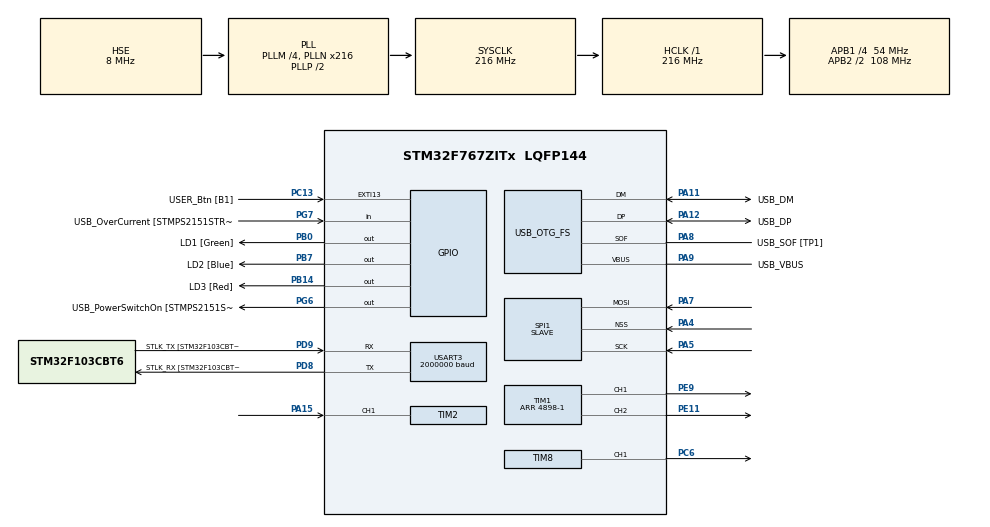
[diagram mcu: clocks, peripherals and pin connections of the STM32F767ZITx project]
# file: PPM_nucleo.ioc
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Dma.Request0=SPI1_RX
Dma.SPI1_RX.0.Direction=DMA_PERIPH_TO_MEMORY
Dma.SPI1_RX.0.FIFOMode=DMA_FIFOMODE_DISABLE
Dma.SPI1_RX.0.Instance=DMA2_Stream0
Dma.SPI1_RX.0.MemDataAlignment=DMA_MDATAALIGN_HALFWORD
Dma.SPI1_RX.0.MemInc=DMA_MINC_ENABLE
Dma.SPI1_RX.0.Mode=DMA_NORMAL
Dma.SPI1_RX.0.PeriphDataAlignment=DMA_PDATAALIGN_HALFWORD
Dma.SPI1_RX.0.PeriphInc=DMA_PINC_DISABLE
Dma.SPI1_RX.0.Priority=DMA_PRIORITY_LOW
Mcu.Family=STM32F7
Mcu.Name=STM32F767ZITx
Mcu.Package=LQFP144
NVIC.DMA2_Stream0_IRQn=true\:0\:0\:false\:false\:true\:false\:true
NVIC.PriorityGroup=NVIC_PRIORITYGROUP_4
NVIC.TIM1_CC_IRQn=true\:0\:0\:false\:false\:true\:true\:true
NVIC.TIM2_IRQn=true\:0\:0\:false\:false\:true\:true\:true
NVIC.TIM8_CC_IRQn=true\:0\:0\:false\:false\:true\:true\:true
PA1.GPIO_Label=RMII_REF_CLK [LAN8742A-CZ-TR_REFCLK0]
PA1.Signal=ETH_REF_CLK
PA10.GPIO_Label=USB_ID
PA10.Signal=USB_OTG_FS_ID
PA11.GPIO_Label=USB_DM
PA11.Mode=Device_Only
PA11.Signal=USB_OTG_FS_DM
PA12.GPIO_Label=USB_DP
PA12.Mode=Device_Only
PA12.Signal=USB_OTG_FS_DP
PA13.GPIO_Label=TMS
PA13.Mode=Serial_Wire
PA13.Signal=SYS_JTMS-SWDIO
PA14.GPIO_Label=TCK
PA14.Mode=Serial_Wire
PA14.Signal=SYS_JTCK-SWCLK
PA15.Signal=S_TIM2_CH1_ETR
PA2.GPIO_Label=RMII_MDIO [LAN8742A-CZ-TR_MDIO]
PA2.Signal=ETH_MDIO
PA4.Mode=NSS_Signal_Hard_Input
PA4.Signal=SPI1_NSS
PA5.Mode=RX_Only_Simplex_Unidirect_Slave
PA5.Signal=SPI1_SCK
PA6.Signal=SPI1_MISO
PA7.Mode=RX_Only_Simplex_Unidirect_Slave
PA7.Signal=SPI1_MOSI
PA8.GPIO_Label=USB_SOF [TP1]
PA8.Mode=Activate_SOF_FS
PA8.Signal=USB_OTG_FS_SOF
PA9.GPIO_Label=USB_VBUS
PA9.Mode=Activate_VBUS
PA9.Signal=USB_OTG_FS_VBUS
PB0.GPIO_Label=LD1 [Green]
PB0.Signal=GPIO_Output
PB13.GPIO_Label=RMII_TXD1 [LAN8742A-CZ-TR_TXD1]
PB13.Signal=ETH_TXD1
PB14.GPIO_Label=LD3 [Red]
PB14.Signal=GPIO_Output
PB3.GPIO_Label=SWO
PB3.Signal=SYS_JTDO-SWO
PB7.GPIO_Label=LD2 [Blue]
PB7.Signal=GPIO_Output
PC1.GPIO_Label=RMII_MDC [LAN8742A-CZ-TR_MDC]
PC1.Signal=ETH_MDC
PC13.GPIO_Label=USER_Btn [B1]
PC13.Signal=GPXTI13
PC14/OSC32_IN.Mode=LSE-External-Oscillator
PC14/OSC32_IN.Signal=RCC_OSC32_IN
PC15/OSC32_OUT.Mode=LSE-External-Oscillator
PC15/OSC32_OUT.Signal=RCC_OSC32_OUT
PC4.GPIO_Label=RMII_RXD0 [LAN8742A-CZ-TR_RXD0]
PC4.Signal=ETH_RXD0
PC5.GPIO_Label=RMII_RXD1 [LAN8742A-CZ-TR_RXD1]
PC5.Signal=ETH_RXD1
PC6.Signal=S_TIM8_CH1
PD8.GPIO_Label=STLK_RX [STM32F103CBT6_PA3]
PD8.Mode=Asynchronous
PD8.Signal=USART3_TX
PD9.GPIO_Label=STLK_TX [STM32F103CBT6_PA2]
PD9.Mode=Asynchronous
PD9.Signal=USART3_RX
PE11.Signal=S_TIM1_CH2
PE9.Signal=S_TIM1_CH1
PG11.GPIO_Label=RMII_TX_EN [LAN8742A-CZ-TR_TXEN]
PG11.Signal=ETH_TX_EN
PG13.GPIO_Label=RMII_TXD0 [LAN8742A-CZ-TR_TXD0]
PG13.Signal=ETH_TXD0
PG6.GPIO_Label=USB_PowerSwitchOn [STMPS2151STR_EN]
PG6.Signal=GPIO_Output
PG7.GPIO_Label=USB_OverCurrent [STMPS2151STR_FAULT]
PG7.Signal=GPIO_Input
PH0/OSC_IN.GPIO_Label=MCO [STM32F103CBT6_PA8]
PH0/OSC_IN.Mode=HSE-External-Clock-Source
PH0/OSC_IN.Signal=RCC_OSC_IN
PH1/OSC_OUT.Mode=HSE-External-Clock-Source
PH1/OSC_OUT.Signal=RCC_OSC_OUT
ProjectManager.HeapSize=0x200
ProjectManager.StackSize=0x400
ProjectManager.TargetToolchain=STM32CubeIDE
RCC.48MHZClocksFreq_Value=24000000
RCC.AHBFreq_Value=216000000
RCC.APB1CLKDivider=RCC_HCLK_DIV4
RCC.APB1Freq_Value=54000000
RCC.APB1TimFreq_Value=216000000
RCC.APB2CLKDivider=RCC_HCLK_DIV2
RCC.APB2Freq_Value=108000000
RCC.APB2TimFreq_Value=216000000
RCC.CortexFreq_Value=216000000
RCC.HCLKFreq_Value=216000000
RCC.HSE_VALUE=8000000
RCC.HSI_VALUE=16000000
RCC.PLLM=4
RCC.PLLMUL=RCC_PLL_MUL9
RCC.PLLN=216
RCC.PLLQ=9
RCC.PRESCALERUSB=RCC_USBCLKSOURCE_PLL_DIV1_5
RCC.RCC_TIM_PRescaler_Selection=RCC_TIMPRES_ACTIVATED
RCC.SYSCLKFreq_VALUE=216000000
RCC.SYSCLKSource=RCC_SYSCLKSOURCE_PLLCLK
RCC.SYSCLKSourceVirtual=RCC_SYSCLKSOURCE_PLLCLK
RCC.USBFreq_Value=48000000
RCC.VCOOutputFreq_Value=432000000
SH.S_TIM1_CH1.0=TIM1_CH1,PWM Generation1 CH1
SH.S_TIM1_CH2.0=TIM1_CH2,PWM Generation2 CH2
SH.S_TIM2_CH1_ETR.0=TIM2_CH1,Input_Capture1_from_TI1
SH.S_TIM8_CH1.0=TIM8_CH1,PWM Generation1 CH1
SPI1.DataSize=SPI_DATASIZE_16BIT
SPI1.Direction=SPI_DIRECTION_2LINES_RXONLY
SPI1.Mode=SPI_MODE_SLAVE
SPI1.TIMode=SPI_TIMODE_DISABLE
SPI1.VirtualNSS=VM_NSSHARD
SPI1.VirtualType=VM_SLAVE
TIM1.Channel-PWM\ Generation1\ CH1=TIM_CHANNEL_1
TIM1.Channel-PWM\ Generation2\ CH2=TIM_CHANNEL_2
TIM1.CounterMode=TIM_COUNTERMODE_UP
TIM1.OCIdleState_1=TIM_OCIDLESTATE_SET
TIM1.OCIdleState_2=TIM_OCIDLESTATE_SET
TIM1.OCMode_PWM-PWM\ Generation1\ CH1=TIM_OCMODE_PWM2
TIM1.OCMode_PWM-PWM\ Generation2\ CH2=TIM_OCMODE_PWM1
TIM1.OCPolarity_1=TIM_OCPOLARITY_LOW
TIM1.OCPolarity_2=TIM_OCPOLARITY_LOW
TIM1.Period=4898-1
TIM1.Pulse-PWM\ Generation1\ CH1=864+10
TIM1.Pulse-PWM\ Generation2\ CH2=3000
TIM1.RepetitionCounter=0
TIM1.TIM_MasterOutputTrigger=TIM_TRGO_UPDATE
TIM1.TIM_MasterOutputTrigger2=TIM_TRGO2_RESET
TIM1.TIM_MasterSlaveMode=TIM_MASTERSLAVEMODE_ENABLE
TIM2.Channel-Input_Capture1_from_TI1=TIM_CHANNEL_1
TIM2.Period=0xffffffff
TIM8.Channel-PWM\ Generation1\ CH1=TIM_CHANNEL_1
TIM8.OCIdleState_1=TIM_OCIDLESTATE_RESET
TIM8.OCMode_PWM-PWM\ Generation1\ CH1=TIM_OCMODE_PWM2
TIM8.OCPolarity_1=TIM_OCPOLARITY_HIGH
TIM8.Period=108-1
TIM8.Pulse-PWM\ Generation1\ CH1=54
TIM8.RepetitionCounter=24
TIM8.TIM_MasterOutputTrigger=TIM_TRGO_RESET
TIM8.TIM_MasterSlaveMode=TIM_MASTERSLAVEMODE_DISABLE
USART3.BaudRate=2000000
USART3.VirtualMode-Asynchronous=VM_ASYNC
USB_OTG_FS.VirtualMode=Device_Only
VP_TIM1_VS_ClockSourceINT.Mode=Internal
VP_TIM8_VS_ClockSourceINT.Mode=Internal
VP_TIM8_VS_ClockSourceITR.Mode=TriggerSource_ITR0
VP_TIM8_VS_ControllerModeTrigger.Mode=Trigger Mode
VP_TIM8_VS_OPM.Mode=OPM_bit
board=NUCLEO-F767ZI

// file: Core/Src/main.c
/* USER CODE BEGIN Header */
/**
 ******************************************************************************
 * @file           : main.c
 * @brief          : Main program body
 ******************************************************************************
 * @attention
 *
 * <h2><center>&copy; Copyright (c) 2020 STMicroelectronics.
 * All rights reserved.</center></h2>
 *
 * This software component is licensed by ST under BSD 3-Clause license,
 * the "License"; You may not use this file except in compliance with the
 * License. You may obtain a copy of the License at:
 *                        opensource.org/licenses/BSD-3-Clause
 *
 ******************************************************************************
 */
/* USER CODE END Header */

#include "main.h"

/* USER CODE BEGIN Includes */
#include "float.h"
#include "string.h"
#include "stdio.h"
/* USER CODE END Includes */

SPI_HandleTypeDef hspi1;
DMA_HandleTypeDef hdma_spi1_rx;

TIM_HandleTypeDef htim1;
TIM_HandleTypeDef htim2;
TIM_HandleTypeDef htim8;

UART_HandleTypeDef huart3;

PCD_HandleTypeDef hpcd_USB_OTG_FS;

/* USER CODE BEGIN PV */
uint8_t filledBuffers = 0;
uint32_t  samplesPerPeriod = 44100;
uint32_t samplesTotal = 44100 * 2;
uint8_t buffer_rx1[44100 * 2];
uint8_t buffer_rx2[44100 * 2];

uint32_t IC_Value1 = 0;
uint32_t IC_Value2 = 0;
uint32_t difference = 0;
uint32_t frequency = 0;
uint8_t firstCapturedSample = 0;  // 0- not captured, 1- captured
/* USER CODE END PV */

void SystemClock_Config(void);
static void MX_GPIO_Init(void);
static void MX_DMA_Init(void);
static void MX_USART3_UART_Init(void);
static void MX_USB_OTG_FS_PCD_Init(void);
static void MX_SPI1_Init(void);
static void MX_TIM8_Init(void);
static void MX_TIM1_Init(void);
static void MX_TIM2_Init(void);

/* USER CODE BEGIN 0 */
//Callback for receive SPI
void HAL_SPI_RxCpltCallback(SPI_HandleTypeDef *hspi);
void HAL_TIM_PeriodElapsedCallback(TIM_HandleTypeDef *htim);

/* USER CODE END 0 */

int main(void)
{

  /* MCU Configuration--------------------------------------------------------*/

  /* Reset of all peripherals, Initializes the Flash interface and the Systick. */
  HAL_Init();

  /* Configure the system clock */
  SystemClock_Config();

  /* Initialize all configured peripherals */
  MX_GPIO_Init();
  MX_DMA_Init();
  MX_USART3_UART_Init();
  MX_USB_OTG_FS_PCD_Init();
  MX_SPI1_Init();
  MX_TIM8_Init();
  MX_TIM1_Init();
  MX_TIM2_Init();
  /* USER CODE BEGIN 2 */

	// Start timers
	HAL_TIM_PWM_Start_IT(&htim1, TIM_CHANNEL_1);
	HAL_TIM_PWM_Start_IT(&htim1, TIM_CHANNEL_2);
	HAL_TIM_PWM_Start_IT(&htim8, TIM_CHANNEL_1);
	HAL_TIM_IC_Start_IT(&htim2, TIM_CHANNEL_1);

	// Start SPI communication over DMA
	HAL_SPI_Receive_DMA(&hspi1, buffer_rx1, samplesPerPeriod);
	//Configure_DMA();
	//LL_DMA_EnableStream(DMA2, LL_DMA_STREAM_0);
  /* USER CODE END 2 */

  /* Infinite loop */
	while (1) {

	}
}

void SystemClock_Config(void)
{
  RCC_OscInitTypeDef RCC_OscInitStruct = {0};
  RCC_ClkInitTypeDef RCC_ClkInitStruct = {0};
  RCC_PeriphCLKInitTypeDef PeriphClkInitStruct = {0};

  /** Configure LSE Drive Capability
  */
  HAL_PWR_EnableBkUpAccess();
  /** Configure the main internal regulator output voltage
  */
  __HAL_RCC_PWR_CLK_ENABLE();
  __HAL_PWR_VOLTAGESCALING_CONFIG(PWR_REGULATOR_VOLTAGE_SCALE1);
  /** Initializes the CPU, AHB and APB busses clocks
  */
  RCC_OscInitStruct.OscillatorType = RCC_OSCILLATORTYPE_HSE;
  RCC_OscInitStruct.HSEState = RCC_HSE_BYPASS;
  RCC_OscInitStruct.PLL.PLLState = RCC_PLL_ON;
  RCC_OscInitStruct.PLL.PLLSource = RCC_PLLSOURCE_HSE;
  RCC_OscInitStruct.PLL.PLLM = 4;
  RCC_OscInitStruct.PLL.PLLN = 216;
  RCC_OscInitStruct.PLL.PLLP = RCC_PLLP_DIV2;
  RCC_OscInitStruct.PLL.PLLQ = 9;
  if (HAL_RCC_OscConfig(&RCC_OscInitStruct) != HAL_OK)
  {
    Error_Handler();
  }
  /** Activate the Over-Drive mode
  */
  if (HAL_PWREx_EnableOverDrive() != HAL_OK)
  {
    Error_Handler();
  }
  /** Initializes the CPU, AHB and APB busses clocks
  */
  RCC_ClkInitStruct.ClockType = RCC_CLOCKTYPE_HCLK|RCC_CLOCKTYPE_SYSCLK
                              |RCC_CLOCKTYPE_PCLK1|RCC_CLOCKTYPE_PCLK2;
  RCC_ClkInitStruct.SYSCLKSource = RCC_SYSCLKSOURCE_PLLCLK;
  RCC_ClkInitStruct.AHBCLKDivider = RCC_SYSCLK_DIV1;
  RCC_ClkInitStruct.APB1CLKDivider = RCC_HCLK_DIV4;
  RCC_ClkInitStruct.APB2CLKDivider = RCC_HCLK_DIV2;

  if (HAL_RCC_ClockConfig(&RCC_ClkInitStruct, FLASH_LATENCY_7) != HAL_OK)
  {
    Error_Handler();
  }
  PeriphClkInitStruct.PeriphClockSelection = RCC_PERIPHCLK_TIM|RCC_PERIPHCLK_USART3
                              |RCC_PERIPHCLK_CLK48;
  PeriphClkInitStruct.Usart3ClockSelection = RCC_USART3CLKSOURCE_PCLK1;
  PeriphClkInitStruct.Clk48ClockSelection = RCC_CLK48SOURCE_PLL;
  PeriphClkInitStruct.TIMPresSelection = RCC_TIMPRES_ACTIVATED;

  if (HAL_RCCEx_PeriphCLKConfig(&PeriphClkInitStruct) != HAL_OK)
  {
    Error_Handler();
  }
}

static void MX_SPI1_Init(void)
{

  /* SPI1 parameter configuration*/
  hspi1.Instance = SPI1;
  hspi1.Init.Mode = SPI_MODE_SLAVE;
  hspi1.Init.Direction = SPI_DIRECTION_2LINES_RXONLY;
  hspi1.Init.DataSize = SPI_DATASIZE_16BIT;
  hspi1.Init.CLKPolarity = SPI_POLARITY_LOW;
  hspi1.Init.CLKPhase = SPI_PHASE_1EDGE;
  hspi1.Init.NSS = SPI_NSS_HARD_INPUT;
  hspi1.Init.FirstBit = SPI_FIRSTBIT_MSB;
  hspi1.Init.TIMode = SPI_TIMODE_DISABLE;
  hspi1.Init.CRCCalculation = SPI_CRCCALCULATION_DISABLE;
  hspi1.Init.CRCPolynomial = 7;
  hspi1.Init.CRCLength = SPI_CRC_LENGTH_DATASIZE;
  hspi1.Init.NSSPMode = SPI_NSS_PULSE_DISABLE;
  if (HAL_SPI_Init(&hspi1) != HAL_OK)
  {
    Error_Handler();
  }

}

static void MX_TIM1_Init(void)
{

  TIM_ClockConfigTypeDef sClockSourceConfig = {0};
  TIM_MasterConfigTypeDef sMasterConfig = {0};
  TIM_OC_InitTypeDef sConfigOC = {0};
  TIM_BreakDeadTimeConfigTypeDef sBreakDeadTimeConfig = {0};

  htim1.Instance = TIM1;
  htim1.Init.Prescaler = 0;
  htim1.Init.CounterMode = TIM_COUNTERMODE_UP;
  htim1.Init.Period = 4898-1;
  htim1.Init.ClockDivision = TIM_CLOCKDIVISION_DIV1;
  htim1.Init.RepetitionCounter = 0;
  htim1.Init.AutoReloadPreload = TIM_AUTORELOAD_PRELOAD_DISABLE;
  if (HAL_TIM_Base_Init(&htim1) != HAL_OK)
  {
    Error_Handler();
  }
  sClockSourceConfig.ClockSource = TIM_CLOCKSOURCE_INTERNAL;
  if (HAL_TIM_ConfigClockSource(&htim1, &sClockSourceConfig) != HAL_OK)
  {
    Error_Handler();
  }
  if (HAL_TIM_PWM_Init(&htim1) != HAL_OK)
  {
    Error_Handler();
  }
  sMasterConfig.MasterOutputTrigger = TIM_TRGO_UPDATE;
  sMasterConfig.MasterOutputTrigger2 = TIM_TRGO2_RESET;
  sMasterConfig.MasterSlaveMode = TIM_MASTERSLAVEMODE_ENABLE;
  if (HAL_TIMEx_MasterConfigSynchronization(&htim1, &sMasterConfig) != HAL_OK)
  {
    Error_Handler();
  }
  sConfigOC.OCMode = TIM_OCMODE_PWM2;
  sConfigOC.Pulse = 864+10;
  sConfigOC.OCPolarity = TIM_OCPOLARITY_LOW;
  sConfigOC.OCNPolarity = TIM_OCNPOLARITY_HIGH;
  sConfigOC.OCFastMode = TIM_OCFAST_DISABLE;
  sConfigOC.OCIdleState = TIM_OCIDLESTATE_SET;
  sConfigOC.OCNIdleState = TIM_OCNIDLESTATE_RESET;
  if (HAL_TIM_PWM_ConfigChannel(&htim1, &sConfigOC, TIM_CHANNEL_1) != HAL_OK)
  {
    Error_Handler();
  }
  sConfigOC.OCMode = TIM_OCMODE_PWM1;
  sConfigOC.Pulse = 3000;
  if (HAL_TIM_PWM_ConfigChannel(&htim1, &sConfigOC, TIM_CHANNEL_2) != HAL_OK)
  {
    Error_Handler();
  }
  sBreakDeadTimeConfig.OffStateRunMode = TIM_OSSR_DISABLE;
  sBreakDeadTimeConfig.OffStateIDLEMode = TIM_OSSI_DISABLE;
  sBreakDeadTimeConfig.LockLevel = TIM_LOCKLEVEL_OFF;
  sBreakDeadTimeConfig.DeadTime = 0;
  sBreakDeadTimeConfig.BreakState = TIM_BREAK_DISABLE;
  sBreakDeadTimeConfig.BreakPolarity = TIM_BREAKPOLARITY_HIGH;
  sBreakDeadTimeConfig.BreakFilter = 0;
  sBreakDeadTimeConfig.Break2State = TIM_BREAK2_DISABLE;
  sBreakDeadTimeConfig.Break2Polarity = TIM_BREAK2POLARITY_HIGH;
  sBreakDeadTimeConfig.Break2Filter = 0;
  sBreakDeadTimeConfig.AutomaticOutput = TIM_AUTOMATICOUTPUT_DISABLE;
  if (HAL_TIMEx_ConfigBreakDeadTime(&htim1, &sBreakDeadTimeConfig) != HAL_OK)
  {
    Error_Handler();
  }
  HAL_TIM_MspPostInit(&htim1);

}

static void MX_TIM2_Init(void)
{

  TIM_MasterConfigTypeDef sMasterConfig = {0};
  TIM_IC_InitTypeDef sConfigIC = {0};

  htim2.Instance = TIM2;
  htim2.Init.Prescaler = 0;
  htim2.Init.CounterMode = TIM_COUNTERMODE_UP;
  htim2.Init.Period = 0xffffffff;
  htim2.Init.ClockDivision = TIM_CLOCKDIVISION_DIV1;
  htim2.Init.AutoReloadPreload = TIM_AUTORELOAD_PRELOAD_DISABLE;
  if (HAL_TIM_IC_Init(&htim2) != HAL_OK)
  {
    Error_Handler();
  }
  sMasterConfig.MasterOutputTrigger = TIM_TRGO_RESET;
  sMasterConfig.MasterSlaveMode = TIM_MASTERSLAVEMODE_DISABLE;
  if (HAL_TIMEx_MasterConfigSynchronization(&htim2, &sMasterConfig) != HAL_OK)
  {
    Error_Handler();
  }
  sConfigIC.ICPolarity = TIM_INPUTCHANNELPOLARITY_RISING;
  sConfigIC.ICSelection = TIM_ICSELECTION_DIRECTTI;
  sConfigIC.ICPrescaler = TIM_ICPSC_DIV1;
  sConfigIC.ICFilter = 0;
  if (HAL_TIM_IC_ConfigChannel(&htim2, &sConfigIC, TIM_CHANNEL_1) != HAL_OK)
  {
    Error_Handler();
  }

}

static void MX_TIM8_Init(void)
{

  TIM_ClockConfigTypeDef sClockSourceConfig = {0};
  TIM_SlaveConfigTypeDef sSlaveConfig = {0};
  TIM_MasterConfigTypeDef sMasterConfig = {0};
  TIM_OC_InitTypeDef sConfigOC = {0};
  TIM_BreakDeadTimeConfigTypeDef sBreakDeadTimeConfig = {0};

  htim8.Instance = TIM8;
  htim8.Init.Prescaler = 0;
  htim8.Init.CounterMode = TIM_COUNTERMODE_UP;
  htim8.Init.Period = 108-1;
  htim8.Init.ClockDivision = TIM_CLOCKDIVISION_DIV1;
  htim8.Init.RepetitionCounter = 24;
  htim8.Init.AutoReloadPreload = TIM_AUTORELOAD_PRELOAD_DISABLE;
  if (HAL_TIM_Base_Init(&htim8) != HAL_OK)
  {
    Error_Handler();
  }
  sClockSourceConfig.ClockSource = TIM_CLOCKSOURCE_INTERNAL;
  if (HAL_TIM_ConfigClockSource(&htim8, &sClockSourceConfig) != HAL_OK)
  {
    Error_Handler();
  }
  if (HAL_TIM_PWM_Init(&htim8) != HAL_OK)
  {
    Error_Handler();
  }
  if (HAL_TIM_OnePulse_Init(&htim8, TIM_OPMODE_SINGLE) != HAL_OK)
  {
    Error_Handler();
  }
  sSlaveConfig.SlaveMode = TIM_SLAVEMODE_TRIGGER;
  sSlaveConfig.InputTrigger = TIM_TS_ITR0;
  if (HAL_TIM_SlaveConfigSynchro(&htim8, &sSlaveConfig) != HAL_OK)
  {
    Error_Handler();
  }
  sMasterConfig.MasterOutputTrigger = TIM_TRGO_RESET;
  sMasterConfig.MasterOutputTrigger2 = TIM_TRGO2_RESET;
  sMasterConfig.MasterSlaveMode = TIM_MASTERSLAVEMODE_DISABLE;
  if (HAL_TIMEx_MasterConfigSynchronization(&htim8, &sMasterConfig) != HAL_OK)
  {
    Error_Handler();
  }
  sConfigOC.OCMode = TIM_OCMODE_PWM2;
  sConfigOC.Pulse = 54;
  sConfigOC.OCPolarity = TIM_OCPOLARITY_HIGH;
  sConfigOC.OCNPolarity = TIM_OCNPOLARITY_HIGH;
  sConfigOC.OCFastMode = TIM_OCFAST_DISABLE;
  sConfigOC.OCIdleState = TIM_OCIDLESTATE_RESET;
  sConfigOC.OCNIdleState = TIM_OCNIDLESTATE_RESET;
  if (HAL_TIM_PWM_ConfigChannel(&htim8, &sConfigOC, TIM_CHANNEL_1) != HAL_OK)
  {
    Error_Handler();
  }
  sBreakDeadTimeConfig.OffStateRunMode = TIM_OSSR_DISABLE;
  sBreakDeadTimeConfig.OffStateIDLEMode = TIM_OSSI_DISABLE;
  sBreakDeadTimeConfig.LockLevel = TIM_LOCKLEVEL_OFF;
  sBreakDeadTimeConfig.DeadTime = 0;
  sBreakDeadTimeConfig.BreakState = TIM_BREAK_DISABLE;
  sBreakDeadTimeConfig.BreakPolarity = TIM_BREAKPOLARITY_HIGH;
  sBreakDeadTimeConfig.BreakFilter = 0;
  sBreakDeadTimeConfig.Break2State = TIM_BREAK2_DISABLE;
  sBreakDeadTimeConfig.Break2Polarity = TIM_BREAK2POLARITY_HIGH;
  sBreakDeadTimeConfig.Break2Filter = 0;
  sBreakDeadTimeConfig.AutomaticOutput = TIM_AUTOMATICOUTPUT_DISABLE;
  if (HAL_TIMEx_ConfigBreakDeadTime(&htim8, &sBreakDeadTimeConfig) != HAL_OK)
  {
    Error_Handler();
  }
  HAL_TIM_MspPostInit(&htim8);

}

static void MX_USART3_UART_Init(void)
{

  huart3.Instance = USART3;
  huart3.Init.BaudRate = 2000000;
  huart3.Init.WordLength = UART_WORDLENGTH_8B;
  huart3.Init.StopBits = UART_STOPBITS_1;
  huart3.Init.Parity = UART_PARITY_NONE;
  huart3.Init.Mode = UART_MODE_TX_RX;
  huart3.Init.HwFlowCtl = UART_HWCONTROL_NONE;
  huart3.Init.OverSampling = UART_OVERSAMPLING_16;
  huart3.Init.OneBitSampling = UART_ONE_BIT_SAMPLE_DISABLE;
  huart3.AdvancedInit.AdvFeatureInit = UART_ADVFEATURE_NO_INIT;
  if (HAL_UART_Init(&huart3) != HAL_OK)
  {
    Error_Handler();
  }

}

static void MX_USB_OTG_FS_PCD_Init(void)
{

  hpcd_USB_OTG_FS.Instance = USB_OTG_FS;
  hpcd_USB_OTG_FS.Init.dev_endpoints = 6;
  hpcd_USB_OTG_FS.Init.speed = PCD_SPEED_FULL;
  hpcd_USB_OTG_FS.Init.dma_enable = DISABLE;
  hpcd_USB_OTG_FS.Init.phy_itface = PCD_PHY_EMBEDDED;
  hpcd_USB_OTG_FS.Init.Sof_enable = ENABLE;
  hpcd_USB_OTG_FS.Init.low_power_enable = DISABLE;
  hpcd_USB_OTG_FS.Init.lpm_enable = DISABLE;
  hpcd_USB_OTG_FS.Init.vbus_sensing_enable = ENABLE;
  hpcd_USB_OTG_FS.Init.use_dedicated_ep1 = DISABLE;
  if (HAL_PCD_Init(&hpcd_USB_OTG_FS) != HAL_OK)
  {
    Error_Handler();
  }

}

static void MX_DMA_Init(void)
{

  /* Init with LL driver */
  /* DMA controller clock enable */
  LL_AHB1_GRP1_EnableClock(LL_AHB1_GRP1_PERIPH_DMA2);

  /* DMA interrupt init */
  /* DMA2_Stream0_IRQn interrupt configuration */
  HAL_NVIC_SetPriority(DMA2_Stream0_IRQn, 0, 0);
  HAL_NVIC_EnableIRQ(DMA2_Stream0_IRQn);

}

static void MX_GPIO_Init(void)
{
  GPIO_InitTypeDef GPIO_InitStruct = {0};

  /* GPIO Ports Clock Enable */
  __HAL_RCC_GPIOC_CLK_ENABLE();
  __HAL_RCC_GPIOH_CLK_ENABLE();
  __HAL_RCC_GPIOA_CLK_ENABLE();
  __HAL_RCC_GPIOB_CLK_ENABLE();
  __HAL_RCC_GPIOE_CLK_ENABLE();
  __HAL_RCC_GPIOD_CLK_ENABLE();
  __HAL_RCC_GPIOG_CLK_ENABLE();

  /*Configure GPIO pin Output Level */
  HAL_GPIO_WritePin(GPIOB, LD1_Pin|LD3_Pin|LD2_Pin, GPIO_PIN_RESET);

  /*Configure GPIO pin Output Level */
  HAL_GPIO_WritePin(USB_PowerSwitchOn_GPIO_Port, USB_PowerSwitchOn_Pin, GPIO_PIN_RESET);

  /*Configure GPIO pin : USER_Btn_Pin */
  GPIO_InitStruct.Pin = USER_Btn_Pin;
  GPIO_InitStruct.Mode = GPIO_MODE_IT_RISING;
  GPIO_InitStruct.Pull = GPIO_NOPULL;
  HAL_GPIO_Init(USER_Btn_GPIO_Port, &GPIO_InitStruct);

  /*Configure GPIO pins : RMII_MDC_Pin RMII_RXD0_Pin RMII_RXD1_Pin */
  GPIO_InitStruct.Pin = RMII_MDC_Pin|RMII_RXD0_Pin|RMII_RXD1_Pin;
  GPIO_InitStruct.Mode = GPIO_MODE_AF_PP;
  GPIO_InitStruct.Pull = GPIO_NOPULL;
  GPIO_InitStruct.Speed = GPIO_SPEED_FREQ_VERY_HIGH;
  GPIO_InitStruct.Alternate = GPIO_AF11_ETH;
  HAL_GPIO_Init(GPIOC, &GPIO_InitStruct);

  /*Configure GPIO pins : RMII_REF_CLK_Pin RMII_MDIO_Pin */
  GPIO_InitStruct.Pin = RMII_REF_CLK_Pin|RMII_MDIO_Pin;
  GPIO_InitStruct.Mode = GPIO_MODE_AF_PP;
  GPIO_InitStruct.Pull = GPIO_NOPULL;
  GPIO_InitStruct.Speed = GPIO_SPEED_FREQ_VERY_HIGH;
  GPIO_InitStruct.Alternate = GPIO_AF11_ETH;
  HAL_GPIO_Init(GPIOA, &GPIO_InitStruct);

  /*Configure GPIO pins : LD1_Pin LD3_Pin LD2_Pin */
  GPIO_InitStruct.Pin = LD1_Pin|LD3_Pin|LD2_Pin;
  GPIO_InitStruct.Mode = GPIO_MODE_OUTPUT_PP;
  GPIO_InitStruct.Pull = GPIO_NOPULL;
  GPIO_InitStruct.Speed = GPIO_SPEED_FREQ_LOW;
  HAL_GPIO_Init(GPIOB, &GPIO_InitStruct);

  /*Configure GPIO pin : RMII_TXD1_Pin */
  GPIO_InitStruct.Pin = RMII_TXD1_Pin;
  GPIO_InitStruct.Mode = GPIO_MODE_AF_PP;
  GPIO_InitStruct.Pull = GPIO_NOPULL;
  GPIO_InitStruct.Speed = GPIO_SPEED_FREQ_VERY_HIGH;
  GPIO_InitStruct.Alternate = GPIO_AF11_ETH;
  HAL_GPIO_Init(RMII_TXD1_GPIO_Port, &GPIO_InitStruct);

  /*Configure GPIO pin : USB_PowerSwitchOn_Pin */
  GPIO_InitStruct.Pin = USB_PowerSwitchOn_Pin;
  GPIO_InitStruct.Mode = GPIO_MODE_OUTPUT_PP;
  GPIO_InitStruct.Pull = GPIO_NOPULL;
  GPIO_InitStruct.Speed = GPIO_SPEED_FREQ_LOW;
  HAL_GPIO_Init(USB_PowerSwitchOn_GPIO_Port, &GPIO_InitStruct);

  /*Configure GPIO pin : USB_OverCurrent_Pin */
  GPIO_InitStruct.Pin = USB_OverCurrent_Pin;
  GPIO_InitStruct.Mode = GPIO_MODE_INPUT;
  GPIO_InitStruct.Pull = GPIO_NOPULL;
  HAL_GPIO_Init(USB_OverCurrent_GPIO_Port, &GPIO_InitStruct);

  /*Configure GPIO pins : RMII_TX_EN_Pin RMII_TXD0_Pin */
  GPIO_InitStruct.Pin = RMII_TX_EN_Pin|RMII_TXD0_Pin;
  GPIO_InitStruct.Mode = GPIO_MODE_AF_PP;
  GPIO_InitStruct.Pull = GPIO_NOPULL;
  GPIO_InitStruct.Speed = GPIO_SPEED_FREQ_VERY_HIGH;
  GPIO_InitStruct.Alternate = GPIO_AF11_ETH;
  HAL_GPIO_Init(GPIOG, &GPIO_InitStruct);

}

/* USER CODE BEGIN 4 */
void HAL_SPI_RxCpltCallback(SPI_HandleTypeDef *hspi) {
	filledBuffers++;

	// observe interval of SPI receiving
	HAL_GPIO_TogglePin(LD1_GPIO_Port, LD1_Pin);
	// Run the measurement again

	//first buffer is filled
	if (filledBuffers == 1) {
		HAL_SPI_Receive_DMA(&hspi1, buffer_rx2, samplesPerPeriod);
	}

	//second buffer is filled, send data over UART
	else if (filledBuffers == 2) {
		// turn off timers
		HAL_TIM_Base_Stop(&htim1);
		HAL_TIM_PWM_Stop_IT(&htim1, TIM_CHANNEL_1);
		HAL_TIM_PWM_Stop_IT(&htim1, TIM_CHANNEL_2);
		HAL_TIM_IC_Stop_IT(&htim2, TIM_CHANNEL_1);

		filledBuffers = 0;
		sendDataOverUART();

	}

	//ToModify
	//HAL_TIM_Base_Stop(&htim1);
	//HAL_TIM_PWM_Stop_IT(&htim1, TIM_CHANNEL_1);
	//HAL_TIM_PWM_Stop_IT(&htim1, TIM_CHANNEL_2);

	//send data over uart
	/*if (hspi == &hspi1) {
	 char msg_buffers[16];
	 HAL_GPIO_WritePin(GPIOA, GPIO_PIN_4, SET);
	 adc = (uint16_t) 256 * buffer_rx[1] + (uint16_t) buffer_rx[2];
	 samplesPerPeriod++;
	 sprintf(msg_buffers, "%hu\n", adc);
	 HAL_UART_Transmit(&huart3, (uint8_t*) msg_buffers, strlen(msg_buffers), HAL_MAX_DELAY);

	 }*/
}

void sendDataOverUART() {
	char msg_freq[16];
	char msg_buffers[16];
	uint16_t adc = 0;
	int i = 0;
	//send frequency
	sprintf(msg_freq, "%d\n", frequency);
	//HAL_UART_Transmit(&huart3, (uint8_t*) msg_freq, strlen(msg_freq), HAL_MAX_DELAY);

	// first buffer
	for (i = 0; i < samplesPerPeriod; i++) {
		adc = (uint16_t) (buffer_rx1[i]) + (uint16_t) (256*buffer_rx1[i+1]);
		sprintf(msg_buffers, "%hu\n", adc);
		HAL_UART_Transmit(&huart3, (uint8_t*) msg_buffers, strlen(msg_buffers), HAL_MAX_DELAY);
		i++;
	}
	//second buffer
	for (i = 0; i < samplesPerPeriod; i++) {
		adc = (uint16_t) (buffer_rx2[i]) + (uint16_t) (256*buffer_rx2[i+1]);
		sprintf(msg_buffers, "%hu\n", adc);
		HAL_UART_Transmit(&huart3, (uint8_t*) msg_buffers, strlen(msg_buffers), HAL_MAX_DELAY);
		i++;
	}
}

void HAL_TIM_PeriodElapsedCallback(TIM_HandleTypeDef *htim) {

}

void Configure_DMA(void) {
	/* (1) Enable the clock of DMA2 */
	LL_AHB1_GRP1_EnableClock(LL_AHB1_GRP1_PERIPH_DMA2);
	/* (2) Configure the DMA functionnal parameters */
	/* Configuration of the DMA parameters can be done using unitary functions or using the specific configure function */
	/* Unitary Functions */

	LL_DMA_SetDataTransferDirection(DMA2, LL_DMA_STREAM_0,
	LL_DMA_DIRECTION_MEMORY_TO_MEMORY);
	LL_DMA_SetStreamPriorityLevel(DMA2, LL_DMA_STREAM_0, LL_DMA_PRIORITY_HIGH);
	LL_DMA_SetMode(DMA2, LL_DMA_STREAM_0, LL_DMA_MODE_NORMAL);
	LL_DMA_SetPeriphIncMode(DMA2, LL_DMA_STREAM_0, LL_DMA_PERIPH_INCREMENT);
	LL_DMA_SetMemoryIncMode(DMA2, LL_DMA_STREAM_0, LL_DMA_MEMORY_INCREMENT);
	LL_DMA_SetPeriphSize(DMA2, LL_DMA_STREAM_0, LL_DMA_PDATAALIGN_HALFWORD);
	LL_DMA_SetMemorySize(DMA2, LL_DMA_STREAM_0, LL_DMA_PDATAALIGN_HALFWORD);

	/* Configure Function */
//  LL_DMA_ConfigTransfer(DMA2, LL_DMA_STREAM_0, LL_DMA_DIRECTION_MEMORY_TO_MEMORY |
//                                               LL_DMA_PRIORITY_HIGH              |
//                                               LL_DMA_MODE_NORMAL                |
//                                               LL_DMA_PERIPH_INCREMENT           |
//                                               LL_DMA_MEMORY_INCREMENT           |
//                                               LL_DMA_PDATAALIGN_WORD            |
//                                               LL_DMA_MDATAALIGN_WORD);
	LL_DMA_SetDataLength(DMA2, LL_DMA_STREAM_0, samplesPerPeriod);
	LL_DMA_ConfigAddresses(DMA2, LL_DMA_STREAM_0,
			(uint32_t) &hspi1.Instance->DR, (uint32_t) &buffer_rx1,
			LL_DMA_GetDataTransferDirection(DMA2, LL_DMA_STREAM_0));

	/* (3) Configure NVIC for DMA transfer complete/error interrupts */
	LL_DMA_EnableIT_TC(DMA2, LL_DMA_STREAM_0);
	LL_DMA_EnableIT_TE(DMA2, LL_DMA_STREAM_0);
	NVIC_SetPriority(DMA2_Stream0_IRQn, 0);
	NVIC_EnableIRQ(DMA2_Stream0_IRQn);
}

void HAL_TIM_IC_CaptureCallback(TIM_HandleTypeDef *htim) {
	if (htim->Instance == TIM2) {
		HAL_GPIO_TogglePin(LD1_GPIO_Port, LD1_Pin);
		if (firstCapturedSample == 0) {
			IC_Value1 = HAL_TIM_ReadCapturedValue(htim, TIM_CHANNEL_1);
			firstCapturedSample = 1;
		}

		else if (firstCapturedSample) {
			IC_Value2 = HAL_TIM_ReadCapturedValue(htim, TIM_CHANNEL_1);
			difference = IC_Value2 - IC_Value1;
			frequency = HAL_RCC_GetHCLKFreq() / difference;
			firstCapturedSample = 0;
		}
	}
}

/* USER CODE END 4 */

void Error_Handler(void)
{
}

/************************ (C) COPYRIGHT STMicroelectronics *****END OF FILE****/
